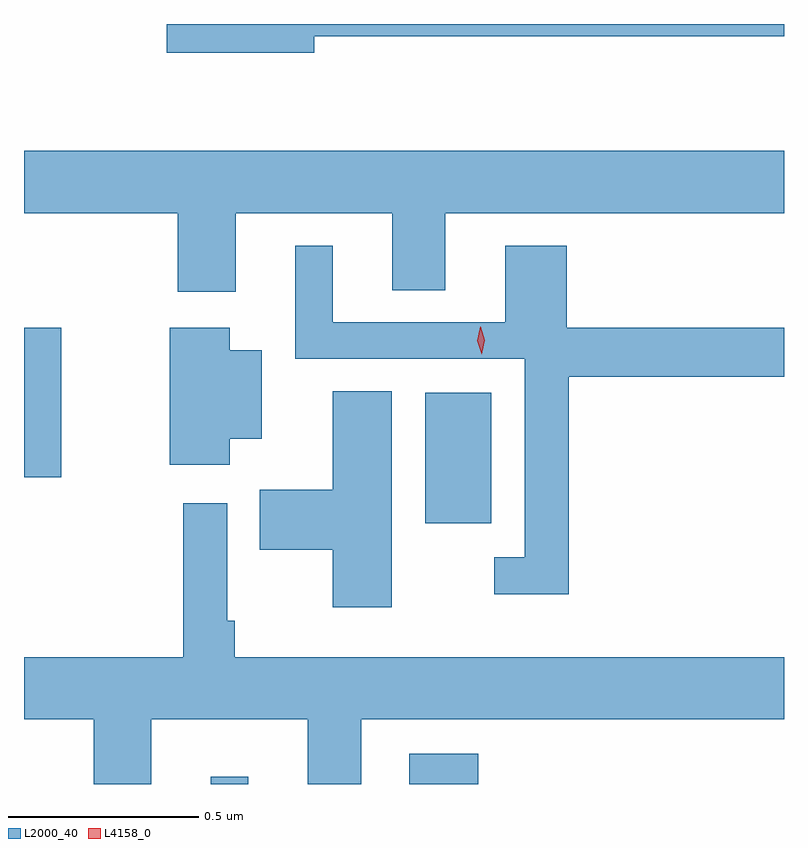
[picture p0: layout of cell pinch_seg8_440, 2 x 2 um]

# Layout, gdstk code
import gdstk
lib = gdstk.Library(unit=1e-6, precision=1e-09)
def R(c, l, rs):  # rectangles x0, y0, x1, y1
    for r in rs: c.add(gdstk.rectangle(r[:2], r[2:], *l))
def P(c, l, *ps):  # polygons
    for p in ps: c.add(gdstk.Polygon(p, *l))
L2000_40 = (2000, 40)
L4158_0 = (4158, 0)

pinch_seg8_440 = lib.new_cell('pinch_seg8_440')
R(pinch_seg8_440, L2000_40, [(254.474,1132.314,254.572,1132.333), (254.996,1132.314,255.178,1132.393), (255.038,1133,255.211,1133.344), (253.982,1133.121,254.08,1133.515)])
P(pinch_seg8_440, L2000_40, [(254.746,1134.282),(255.982,1134.282),(255.982,1134.314),(254.358,1134.314),(254.358,1134.239),(254.746,1134.239)],
  [(254.539,1133.816),(254.951,1133.816),(254.951,1133.614),(255.091,1133.614),(255.091,1133.816),(255.982,1133.816),(255.982,1133.98),(253.982,1133.98),(253.982,1133.816),(254.387,1133.816),(254.387,1133.61),(254.539,1133.61)],
  [(255.416,1133.386),(255.982,1133.386),(255.982,1133.515),(255.41,1133.515),(255.41,1133.731),(255.248,1133.731),(255.248,1133.529),(254.794,1133.529),(254.794,1133.731),(254.696,1133.731),(254.696,1133.433),(255.3,1133.433),(255.3,1132.911),(255.219,1132.911),(255.219,1132.814),(255.416,1132.814)],
  [(254.524,1133.222),(254.608,1133.222),(254.608,1133.455),(254.524,1133.455),(254.524,1133.515),(254.366,1133.515),(254.366,1133.154),(254.524,1133.154)],
  [(254.95,1133.348),(254.795,1133.348),(254.795,1133.089),(254.602,1133.089),(254.602,1132.931),(254.795,1132.931),(254.795,1132.779),(254.95,1132.779)],
  [(254.317,1132.484),(254.729,1132.484),(254.729,1132.314),(254.869,1132.314),(254.869,1132.484),(255.982,1132.484),(255.982,1132.648),(254.537,1132.648),(254.537,1132.744),(254.517,1132.744),(254.517,1133.053),(254.401,1133.053),(254.401,1132.648),(253.982,1132.648),(253.982,1132.484),(254.165,1132.484),(254.165,1132.314),(254.317,1132.314)])
P(pinch_seg8_440, L4158_0, [(255.186,1133.445),(255.186,1133.445),(255.175,1133.481),(255.183,1133.517),(255.183,1133.517),(255.184,1133.517),(255.195,1133.482),(255.186,1133.445)])

lib.write_gds('pinch_seg8_440.gds')
